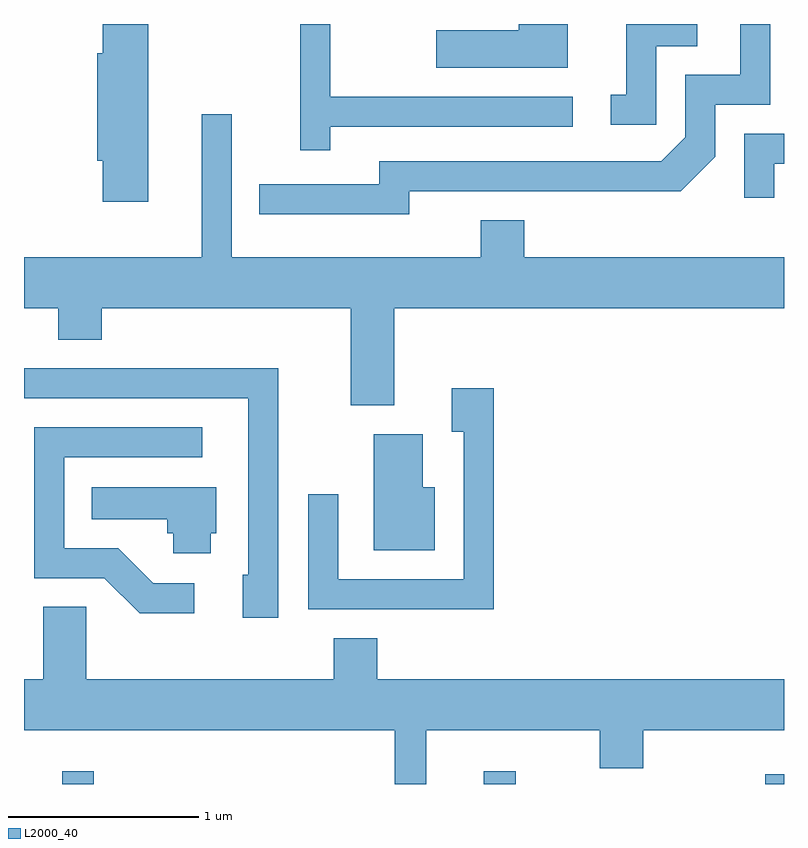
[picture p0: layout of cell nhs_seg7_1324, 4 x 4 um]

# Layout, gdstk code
import gdstk
lib = gdstk.Library(unit=1e-6, precision=1e-09)
def R(c, l, rs):  # rectangles x0, y0, x1, y1
    for r in rs: c.add(gdstk.rectangle(r[:2], r[2:], *l))
def P(c, l, *ps):  # polygons
    for p in ps: c.add(gdstk.Polygon(p, *l))
L2000_40 = (2000, 40)

nhs_seg7_1324 = lib.new_cell('nhs_seg7_1324')
R(nhs_seg7_1324, L2000_40, [(225.811,1716.252,225.979,1716.318), (228.031,1716.252,228.199,1716.318), (229.511,1716.252,229.611,1716.304)])
P(nhs_seg7_1324, L2000_40, [(228.474,1720.252),(228.216,1720.252),(228.216,1720.219),(227.781,1720.219),(227.781,1720.021),(228.474,1720.021)],
  [(226.264,1720.252),(226.026,1720.252),(226.026,1720.099),(225.996,1720.099),(225.996,1719.531),(226.026,1719.531),(226.026,1719.316),(226.264,1719.316)],
  [(228.939,1720.136),(229.154,1720.136),(229.154,1720.252),(228.781,1720.252),(228.781,1719.879),(228.698,1719.879),(228.698,1719.721),(228.939,1719.721)],
  [(227.639,1719.371),(229.067,1719.371),(229.249,1719.554),(229.249,1719.826),(229.539,1719.826),(229.539,1720.252),(229.381,1720.252),(229.381,1719.984),(229.091,1719.984),(229.091,1719.657),(228.964,1719.529),(227.481,1719.529),(227.481,1719.409),(226.848,1719.409),(226.848,1719.251),(227.639,1719.251)],
  [(227.224,1719.711),(228.498,1719.711),(228.498,1719.869),(227.224,1719.869),(227.224,1720.252),(227.066,1720.252),(227.066,1719.588),(227.224,1719.588)],
  [(227.559,1718.756),(229.611,1718.756),(229.611,1719.024),(228.244,1719.024),(228.244,1719.219),(228.016,1719.219),(228.016,1719.024),(226.704,1719.024),(226.704,1719.778),(226.546,1719.778),(226.546,1719.024),(225.611,1719.024),(225.611,1718.756),(225.791,1718.756),(225.791,1718.591),(226.019,1718.591),(226.019,1718.756),(227.331,1718.756),(227.331,1718.246),(227.559,1718.246)],
  [(229.559,1719.516),(229.611,1719.516),(229.611,1719.674),(229.401,1719.674),(229.401,1719.338),(229.559,1719.338)],
  [(226.949,1718.439),(225.611,1718.439),(225.611,1718.281),(226.791,1718.281),(226.791,1717.354),(226.761,1717.354),(226.761,1717.126),(226.949,1717.126)],
  [(228.084,1718.334),(227.861,1718.334),(227.861,1718.106),(227.926,1718.106),(227.926,1717.329),(227.264,1717.329),(227.264,1717.778),(227.106,1717.778),(227.106,1717.171),(228.084,1717.171)],
  [(226.508,1717.309),(226.292,1717.309),(226.107,1717.494),(225.824,1717.494),(225.824,1717.971),(226.548,1717.971),(226.548,1718.129),(225.666,1718.129),(225.666,1717.336),(226.034,1717.336),(226.219,1717.151),(226.508,1717.151)],
  [(227.774,1717.814),(227.709,1717.814),(227.709,1718.094),(227.451,1718.094),(227.451,1717.481),(227.774,1717.481)],
  [(226.594,1717.571),(226.624,1717.571),(226.624,1717.814),(225.968,1717.814),(225.968,1717.646),(226.366,1717.646),(226.366,1717.571),(226.396,1717.571),(226.396,1717.466),(226.594,1717.466)],
  [(227.729,1716.536),(228.641,1716.536),(228.641,1716.336),(228.869,1716.336),(228.869,1716.536),(229.611,1716.536),(229.611,1716.804),(227.469,1716.804),(227.469,1717.019),(227.241,1717.019),(227.241,1716.804),(225.939,1716.804),(225.939,1717.184),(225.711,1717.184),(225.711,1716.804),(225.611,1716.804),(225.611,1716.536),(227.561,1716.536),(227.561,1716.252),(227.729,1716.252)])

lib.write_gds('nhs_seg7_1324.gds')
